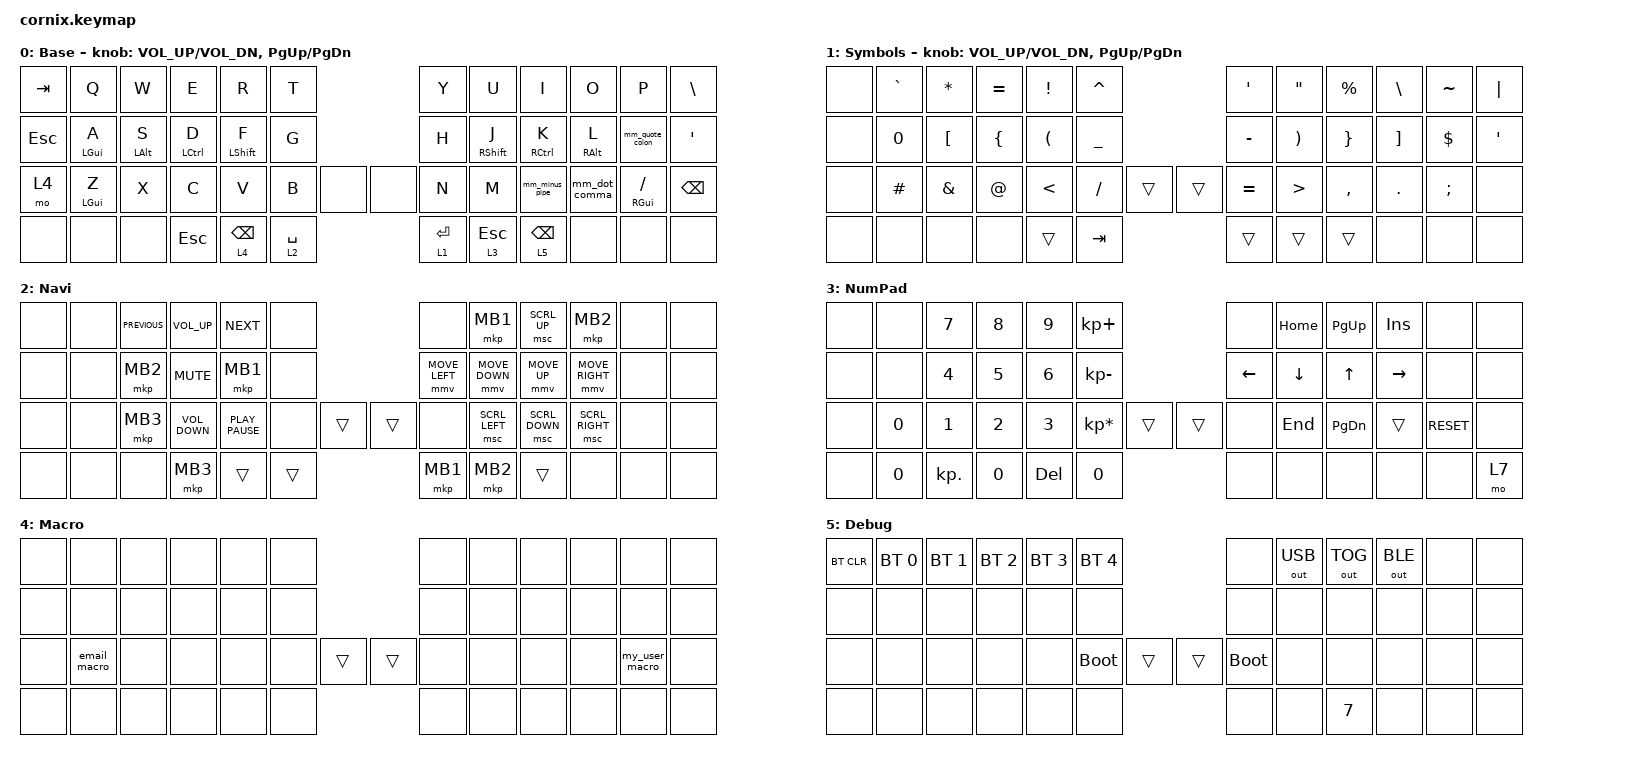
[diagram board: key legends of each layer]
/*
 * Copyright (c) 2020 The ZMK Contributors
 *
 * SPDX-License-Identifier: MIT
 */

#include "zmk-helpers/helper.h"
#include "includes/cornix54.h"
#include <behaviors.dtsi>
#include <dt-bindings/zmk/bt.h>
#include <dt-bindings/zmk/keys.h>
#include <dt-bindings/zmk/outputs.h>

// tap windows for ctl alt and gui

#define HM_TAPPING_TERM 250
#define HM_TAPPING_REPEAT 210

// quick tapping for shift

#define HM_TAPPING_TERM_FAST 200
#define HM_PRIOR_IDLE 70

// mouse accelleration
#define ZMK_POINTING_DEFAULT_MOVE_VAL 1500  // default: 600
#define ZMK_POINTING_DEFAULT_SCRL_VAL 20    // default: 10

#include <dt-bindings/zmk/pointing.h>

// Layers
#define BASE 0
#define SYMBOL 1
#define NAVI   2
#define NUM    3
#define MACRO  4
#define ADJUST 5
#define DEBUG  6
/* #define GRAPHITE 8 */

// https://github.com/urob/zmk-config/tree/main#timeless-homerow-mods

#define KEYS_L LT0 LT1 LT2 LT3 LT4 LT5 LM0 LM1 LM2 LM3 LM4 LM5 LB0 LB1 LB2 LB3 LB4 LB5  // left hand
#define KEYS_R RT0 RT1 RT2 RT3 RT4 RT5 RM0 RM1 RM2 RM3 RM4 RM5 RB0 RB1 RB2 RB3 RB4 RB5  // right hand
#define THUMBS LH1 LH0 RH0 RH1
#define KEYS_T LH1 LH0 RH0 RH1

#include <behaviors.dtsi>
#include <dt-bindings/zmk/bt.h>
#include <dt-bindings/zmk/ext_power.h>
#include <dt-bindings/zmk/keys.h>
#include <dt-bindings/zmk/pointing.h>

/ {
    // Activate ADJUST layer by pressing raise and lower

    macros {
        email_macro: email_macro {
            compatible = "zmk,behavior-macro";
            #binding-cells = <0>;
            wait-ms = <40>;
            tap-ms = <40>;
            bindings
                    = <&kp F &kp R &kp I &kp E &kp S &kp E &kp R &kp P &kp A &kp L &kp D &kp I>
                    , <&kp AT>  /* @ */
                    , <&kp G &kp M &kp A &kp I &kp L &kp DOT &kp C &kp O &kp M>
                    ;
        };
        my_user_macro: my_user_macro {
            compatible = "zmk,behavior-macro";
            #binding-cells = <0>;
            wait-ms = <20>;  
            tap-ms = <20>;
            bindings = <&kp E &kp N0 &kp N5 &kp N3 &kp N2 &kp N7 &kp N4>;
        };
    };
    behaviors {
        mm_minus_pipe: mm_minus_pipe {
            compatible = "zmk,behavior-mod-morph";
            #binding-cells = <0>;
            bindings = <&kp MINUS>, <&kp PIPE>;
            mods = <(MOD_LSFT|MOD_RSFT)>;
        };
        mm_dot_comma: mm_dot_comma {
            compatible = "zmk,behavior-mod-morph";
            #binding-cells = <0>;
            bindings = <&kp DOT>, <&kp COMMA>;
            mods = <(MOD_LSFT|MOD_RSFT)>;
        };
        mm_quote_colon: mm_quote_colon {
            compatible = "zmk,behavior-mod-morph";
            #binding-cells = <0>;
            bindings = <&kp SQT>, <&kp COLON>;
            mods = <(MOD_LSFT|MOD_RSFT)>;
        };
        hm_l: homerow_mods_left {
            compatible = "zmk,behavior-hold-tap";
            #binding-cells = <2>;
            bindings = <&kp>, <&kp>;

            flavor = "balanced";
            tapping-term-ms = <HM_TAPPING_TERM>;
            quick-tap-ms = <200>;                // repeat on tap-into-hold
            require-prior-idle-ms = <HM_PRIOR_IDLE>;
            hold-trigger-key-positions = <KEYS_R KEYS_T>;
            hold-trigger-on-release;
        };

        hm_r: homerow_mods_right {
            compatible = "zmk,behavior-hold-tap";
            #binding-cells = <2>;
            bindings = <&kp>, <&kp>;

            flavor = "balanced";
            tapping-term-ms = <HM_TAPPING_TERM>;
            quick-tap-ms = <200>;
            require-prior-idle-ms = <HM_PRIOR_IDLE>;
            hold-trigger-key-positions = <KEYS_L KEYS_T>;
            hold-trigger-on-release;
        };

        // Positional Homerow mods for shift
        // Use faster tapping term and disable some features that may
        // cause false negatives.

        hm_shift_l: hm_shift_l {
            compatible = "zmk,behavior-hold-tap";
            #binding-cells = <2>;
            bindings = <&kp>, <&kp>;

            //flavor = "balanced";

            flavor = "balanced";
            tapping-term-ms = <HM_TAPPING_TERM_FAST>;
            quick-tap-ms = <200>;
            require-prior-idle-ms = <HM_PRIOR_IDLE>;
            hold-trigger-key-positions = <KEYS_R KEYS_T>;
            hold-trigger-on-release;
        };

        hm_shift_r: hm_shift_r {
            compatible = "zmk,behavior-hold-tap";
            #binding-cells = <2>;
            bindings = <&kp>, <&kp>;

            flavor = "balanced";
            tapping-term-ms = <HM_TAPPING_TERM_FAST>;
            quick-tap-ms = <200>;
            require-prior-idle-ms = <HM_PRIOR_IDLE>;
            hold-trigger-key-positions = <KEYS_L KEYS_T>;

            // for quick tapping; shift+~

            hold-trigger-on-release;
        };

        /*
         * Non-Positional Homerow Mods
         * Used for &mm_grescm_gui behavior on left hand.
         *
         * Usage: &hm LSHFT T
         * Tap: T
         * Tap-Tap-Hold: Repeat T
         * Hold: LSHIFT
         */

        hm: homerow_mods {
            compatible = "zmk,behavior-hold-tap";
            #binding-cells = <2>;
            bindings = <&kp>, <&kp>;

            flavor = "balanced";
            tapping-term-ms = <HM_TAPPING_TERM>;
            quick-tap-ms = <200>;
        };

        lt: layer_tap {
            compatible = "zmk,behavior-hold-tap";
            #binding-cells = <2>;
            bindings = <&mo>, <&kp>;

            flavor = "hold-preferred";
            tapping-term-ms = <HM_TAPPING_TERM>;
            quick-tap-ms = <200>;
        };
    };

    /* conditional_layers { */
    /*     compatible = "zmk,conditional-layers"; */
    /**/
    /*     adjust_layer { */
    /*         if-layers = <3 2>; */
    /*         then-layer = <4>; */
    /*     }; */
    /* }; */

    combos {
        compatible = "zmk,combos";

        /* cb_ltm { */
        /*     bindings = <&kp ESC>; */
        /*     key-positions = <2 4>; */
        /*     layers = <0 1>; */
        /* }; */

        cb_lm {
            bindings = <&kp TAB>;
            key-positions = <14 15 16>;
            layers = <0 1>;
        };

        cb_enter {
            bindings = <&kp RET>;
            key-positions = <21 20 19>;
            layers = <0 1>;
        };

        /* layer3 { */
        /*     bindings = <&kp N3>; */
        /*     key-positions = <5 6>; */
        /* }; */

        /* layer4 { */
        /*     bindings = <&kp N4>; */
        /*     key-positions = <5 6>; */
        /* }; */
    };

    keymap {
        compatible = "zmk,keymap";

        default_layer {
            display-name = "Base";

            // ------------------------------------------------------------------------------------------------------------
            // |   `   |  1  |  2  |  3   |  4   |  5   |                   |  6   |  7    |  8    |  9   |   0   |       |
            // |  ESC  |  Q  |  W  |  E   |  R   |  T   |                   |  Y   |  U    |  I    |  O   |   P   | BKSPC |
            // |  TAB  |  A  |  S  |  D   |  F   |  G   |                   |  H   |  J    |  K    |  L   |   ;   |   '   |
            // | SHIFT |  Z  |  X  |  C   |  V   |  B   |  MUTE  |  |       |  N   |  M    |  ,    |  .   |   /   | SHIFT |
            //               | GUI | ALT  | CTRL | LOWER|  ENTER |  | SPACE | RAISE| CTRL  | ALT   | GUI  |

            bindings = <
&kp TAB  &kp Q          &kp W         &kp E          &kp R                &kp T                      &kp Y         &kp U                &kp I            &kp O         &kp P             &kp BSLH
&kp ESC  &hm_l LGUI A   &hm_l LALT S  &hm_l LCTRL D  &hm_shift_l LSHFT F  &kp G                      &kp H         &hm_shift_r RSHFT J  &hm_r RCTRL K    &hm_r RALT L  &mm_quote_colon   &kp SQT
&mo 4    &hm_l LGUI Z   &kp X         &kp C          &kp V                &kp B        &none  &none  &kp N         &kp M                &mm_minus_pipe   &mm_dot_comma &hm_l RGUI FSLH   &kp BACKSPACE
&none    &none          &none         &kp ESCAPE     &lt 4 BACKSPACE      &lt 2 SPACE                &lt 1 ENTER   &lt 3 ESCAPE         &lt 5 BACKSPACE  &none         &none             &none
            >;
            sensor-bindings = <&inc_dec_kp K_VOL_UP K_VOL_DN &inc_dec_kp PG_UP PG_DN>;
        };

        Symbol_layer {
            display-name = "Symbols";

            // TODO: Some binds are waiting for shifted keycode support.
            // -------------------------------
            // |       |  F1 |  F2 |  F3  |  F4  |  F5  |                   |  F6  |  F7   |  F8   |  F9  |  F10  |  F11  |
            // |   `   |  1  |  2  |  3   |  4   |  5   |                   |  6   |  7    |  8    |  9   |   0   |  F12  |
            // |       |  !  |  @  |  #   |  $   |  %   |                   |  ^   |  &    |  *    |  (   |   )   |   |   |
            // |       |  =  |  -  |  +   |  {   |  }   |        |  |       |  [   |  ]    |  ;    |  :   |   \   |       |
            //               |     |      |      |      |        |  |       |      |       |       |      |

            bindings = <
&none  &kp GRAVE  &kp ASTRK &kp EQUAL &kp EXCL  &kp CARET                  &kp SQT    &kp DQT      &kp PRCNT  &kp BSLH   &kp TILDE  &kp PIPE
&none  &kp N0     &kp LBKT  &kp LBRC  &kp LPAR  &kp UNDER                  &kp MINUS  &kp RPAR     &kp RBRC   &kp RBKT   &kp DLLR   &kp SQT
&none  &kp HASH   &kp AMPS  &kp AT    &kp LT    &kp FSLH   &trans  &trans  &kp EQUAL  &kp GT       &kp COMMA  &kp DOT    &kp SEMI   &none
&none  &none      &none     &none     &trans    &kp TAB                     &trans     &trans       &trans     &none      &none      &none
            >;
            sensor-bindings = <&inc_dec_kp K_VOL_UP K_VOL_DN &inc_dec_kp PG_UP PG_DN>;
        };

        Navi_layer {
            display-name = "Navi";
            bindings = <
&none &none  &kp K_PREVIOUS  &kp K_VOLUME_UP   &kp K_NEXT        &none                  &none           &mkp MB1        &msc SCRL_UP    &mkp MB2           &none &none
&none &none  &mkp MB2        &kp K_MUTE        &mkp MB1          &none                  &mmv MOVE_LEFT  &mmv MOVE_DOWN  &mmv MOVE_UP    &mmv MOVE_RIGHT    &none &none
&none &none  &mkp MB3        &kp K_VOLUME_DOWN &kp K_PLAY_PAUSE  &none  &trans  &trans  &none           &msc SCRL_LEFT  &msc SCRL_DOWN  &msc SCRL_RIGHT    &none &none
&none &none  &none           &mkp MB3          &trans            &trans                 &mkp MB1        &mkp MB2        &trans          &none              &none &none
            >;
        };

        KeyPad_layer {
            display-name = "NumPad";
            bindings = <
&none &none   &kp N7      &kp N8  &kp N9   &kp KP_PLUS                        &none           &kp HOME        &kp PAGE_UP     &kp INSERT       &none            &none 
&none &none   &kp N4      &kp N5  &kp N6   &kp KP_MINUS                       &kp LEFT_ARROW  &kp DOWN_ARROW  &kp UP_ARROW    &kp RIGHT_ARROW  &none            &none
&none &kp N0   &kp N1      &kp N2  &kp N3   &kp KP_MULTIPLY &trans  &trans     &none           &kp END         &kp PAGE_DOWN   &trans           &kp C_RESET      &none
&none &kp N0  &kp KP_DOT  &kp N0  &kp DEL  &kp N0                             &none           &none           &none           &none            &none            &mo 7
            >;
        };
        Macro_layer {
            display-name = "Macro";

            bindings = <
&none &none           &none &none &none &none               &none &none &none &none &none             &none
&none &none           &none &none &none &none               &none &none &none &none &none             &none
&none &email_macro    &none &none &none &none &trans &trans &none &none &none &none &my_user_macro    &none
&none &none           &none &none &none &none               &none &none &none &none &none             &none
            >;
        };
        Debug_layer {
            display-name = "Debug";

            // ----------------------------------------------------------------------------------------------------------------------------
            // | BTCLR  |  BT1    |  BT2    |   BT3   |   BT4   |   BT5   |                  |      |      |       |      |       |       |
            // | EXTPWR | BTCLR | RGB_HUI | RGB_SAD | RGB_SAI | RGB_EFF |                  |      |      |       |      |       |       |
            // |        | RGB_BRD | RGB_BRI |         |         |         |                  |      |      |       |      |       |       |
            // |        |         |         |         |         |         | RGB_TOG | |      |      |      |       |      |       |       |
            //                    |         |         |         |         |         | |      |      |      |       |      |

            bindings = <
&bt BT_CLR  &bt BT_SEL 0  &bt BT_SEL 1  &bt BT_SEL 2  &bt BT_SEL 3  &bt BT_SEL 4                  &none        &out OUT_USB  &out OUT_TOG   &out OUT_BLE  &none  &none
&none       &none         &none         &none         &none         &none                         &none        &none         &none          &none         &none  &none
&none       &none         &none         &none         &none         &bootloader   &trans  &trans  &bootloader  &none         &none          &none         &none  &none
&none       &none         &none         &none         &none         &none                         &none        &none         &kp N7         &none         &none  &none
            >;
        };
    };
};
